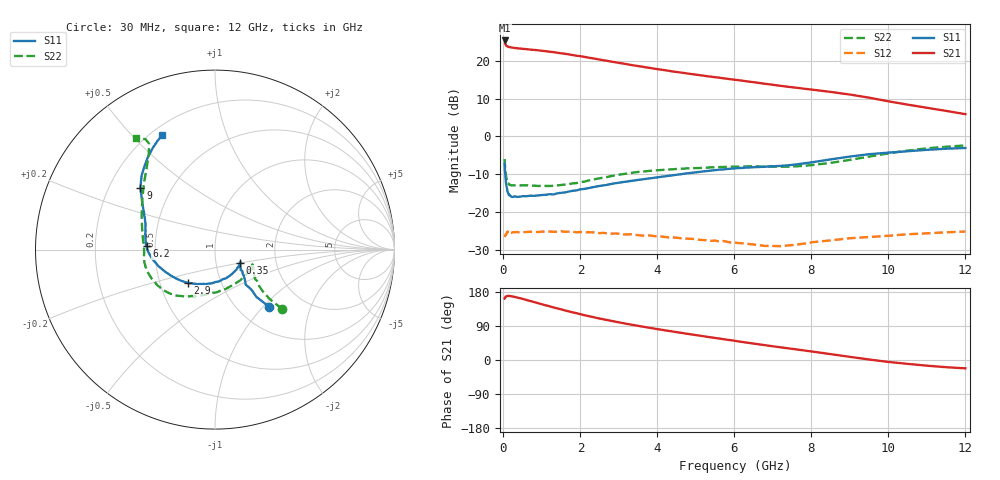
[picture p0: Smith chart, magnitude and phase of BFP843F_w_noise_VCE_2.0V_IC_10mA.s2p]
! Infineon Technologies  Discrete & RF Semiconductors
! BFP843F
! VCE =  2.0 V,  IC =  10 mA
! Common Emitter S-Parameters:  Aug 2013
# GHz  S  MA  R  50
!  f  S11  S21  S12  S22
! GHz  MAG  ANG  MAG  ANG  MAG  ANG  MAG  ANG
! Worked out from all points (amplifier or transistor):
!   103 points, 30 MHz to 12 GHz, reference 50 ohm
!   highest |S21| = 25.4 dB at 30 MHz (marker M1)
!   |S21| within 3 dB of that: start of sweep to 1.218 GHz
!   unconditionally stable (mu >= 1): 168.9 MHz to 1.15 GHz; 1.289 GHz to 1.401 GHz; 2.015 GHz to end of sweep (the widest 3 of 4)
!   at 400 MHz: K = 1.01, MAG = 23.7 dB, |S12| = -25.4 dB
!   at 3.7 GHz: K = 1.13, MAG = 20.1 dB, |S12| = -26.3 dB
!   at 12 GHz: K = 1.31, MAG = 12.2 dB, |S12| = -25.2 dB
!   lowest NFmin = 0.79 dB at 450 MHz
!   S11 on the Smith chart (normalised r, x): 30 MHz: 1.37, -1.08; 350 MHz: 1.31, -0.20; 2.9 GHz: 0.69, -0.27; 6.2 GHz: 0.45, +0.02; 9 GHz: 0.33, +0.32; 12 GHz: 0.24, +0.61
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0.03  0.437 -46.6  18.64 162.1  0.0463 26.1  0.5 -41.5
0.04  0.3504 -48.8  17.44 163.2  0.0478 21.7  0.409 -42.1
0.05  0.3018 -47.7  16.64 166.0  0.0488 18.8  0.3528 -41.1
0.06  0.2597 -48.7  16.3 167.0  0.0507 14.9  0.3202 -39.6
0.11  0.1829 -38.6  15.52 169.1  0.055 7.7  0.2447 -29.2
0.2  0.1589 -28.6  15.05 168.4  0.0526 5.3  0.2247 -22.6
0.35  0.1574 -27.9  14.69 165.0  0.0542 4.6  0.2233 -22.3
0.9  0.1649 -54.2  13.8 149.9  0.054 -0.2  0.2203 -45.7
1.3  0.1703 -75.0  13.04 138.7  0.0545 -1.8  0.2213 -65.4
1.7  0.1859 -93.3  12.19 128.2  0.0546 -3.7  0.2323 -83.5
2.1  0.2013 -108.5  11.3 118.3  0.0535 -5.0  0.2509 -99.9
2.9  0.2389 -129.4  9.605 101.3  0.0517 -7.9  0.3037 -120.8
3.5  0.2649 -141.2  8.531 90.1  0.0492 -8.6  0.3373 -131.0
4.1  0.2914 -152.1  7.652 79.9  0.0471 -9.7  0.3581 -139.1
5  0.3338 -165.9  6.578 65.7  0.0432 -8.5  0.3798 -150.5
6.1  0.3799 178.9  5.551 49.2  0.0386 -5.5  0.3973 -164.8
6.2  0.3815 177.1  5.463 47.7  0.0384 -4.9  0.3991 -166.3
7  0.4002 165.3  4.825 36.2  0.0353 2.9  0.3949 -177.0
8.5  0.4954 145.4  3.881 15.5  0.0419 16.2  0.4455 156.7
9  0.5399 140.3  3.579 8.3  0.0447 17.5  0.4877 146.2
10.5  0.6353 126.2  2.632 -10.2  0.0505 18.3  0.6476 124.7
12  0.7011 114.8  1.968 -22.0  0.0549 21.1  0.7594 125.3
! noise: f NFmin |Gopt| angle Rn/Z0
0.45  0.79  0.04  18  0.02
0.9  0.8  0.04  35  0.03
1.5  0.85  0.05  55  0.04
1.9  0.89  0.05  77  0.04
2.4  0.93  0.06  96  0.05
3.5  0.99  0.08  129  0.1
5.5  1.09  0.16  -176  0.17
10  1.66  0.36  -114  0.28
